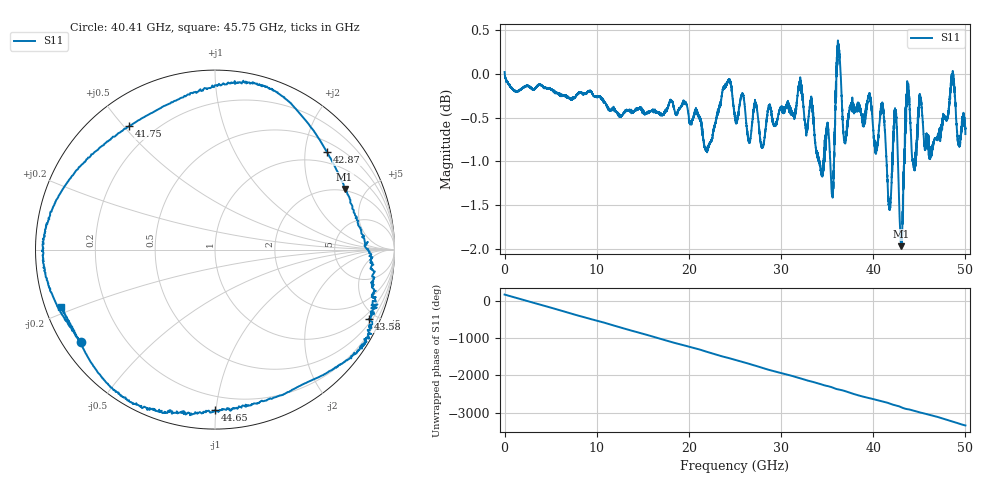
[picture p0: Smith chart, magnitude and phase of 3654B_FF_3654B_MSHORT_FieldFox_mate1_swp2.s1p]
!Created with skrf (http://scikit-rf.org).
# Hz S RI R 50.0
!freq ReS11 ImS11
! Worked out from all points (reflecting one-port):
!   10000 points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, 5.3 MHz to 50 GHz, reference 50 ohm
!   lowest |S11| = -2.0 dB at 43.01 GHz (marker M1), VSWR 8.86, Z = 95 + j176 ohm
!   phase of S11 starts at 180 deg and turns -3529 deg over the sweep
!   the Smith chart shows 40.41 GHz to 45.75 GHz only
!   S11 on the Smith chart (normalised r, x): 40.41 GHz: 0.05, -0.31; 41.75 GHz: 0.11, +0.52; 42.87 GHz: 0.73, +2.49; 43.58 GHz: 0.69, -4.54; 44.65 GHz: 0.11, -0.99; 45.75 GHz: 0.05, -0.18
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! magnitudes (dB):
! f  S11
! 5.3 MHz  0.0
! 6.255 GHz  -0.2
! 12.51 GHz  -0.5
! 18.76 GHz  -0.4
! 21.92 GHz  -0.8
! 24.18 GHz  -0.1
! 25.01 GHz  -0.5
! 31.26 GHz  -0.5
! 32.1 GHz  -0.1
! 35.53 GHz  -1.4
! 36.2 GHz  0.3
! 36.89 GHz  -0.8
! 37.51 GHz  -0.4
! 39.59 GHz  -0.2
! 40.41 GHz  -0.8
! 41.04 GHz  -0.3
! 41.75 GHz  -1.5
! 42.41 GHz  -0.4
! 42.87 GHz  -1.7
! 43.01 GHz  -2.0
! 43.58 GHz  -0.5
! 43.76 GHz  -0.2
! 44.65 GHz  -1.0
! 45.09 GHz  -0.3
! 45.75 GHz  -0.8
! 48.6 GHz  0.0
! 49.26 GHz  -0.8
! 50 GHz  -0.7
